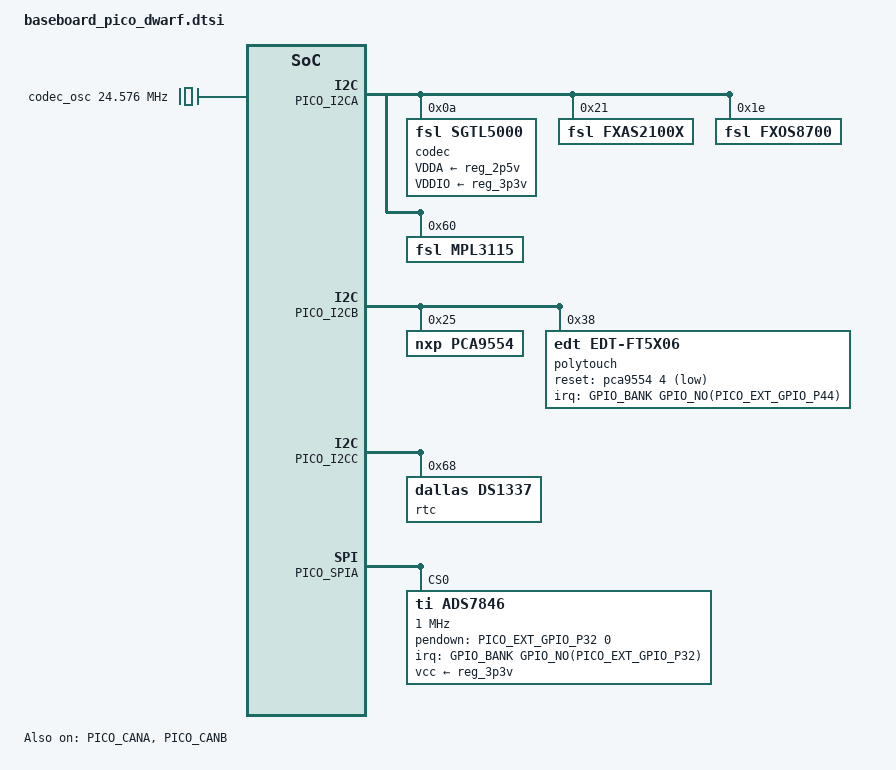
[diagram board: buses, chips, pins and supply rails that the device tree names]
/*
 * Copyright 2018 Technexion Ltd.
 *
 * Author: Tapani Utriainen <tapani@technexion.com>
 *         Richard Hu <richard.hu@technexion.com>
 *
 * This program is free software; you can redistribute it and/or modify
 * it under the terms of the GNU General Public License version 2 as
 * published by the Free Software Foundation.
 *
 */

#include <tnmacro.h>

/ {
	gpio-edm {
		compatible = "gpio-edm";

		gpio_exp0 {
			label = "GPIO_EXP0";
			gpios = <&pca9554 0 GPIO_ACTIVE_HIGH>;
			dir   = "out";
		};
		gpio_exp1 {
			label = "GPIO_EXP1";
			gpios = <&pca9554 1 GPIO_ACTIVE_HIGH>;
			dir   = "out";
		};
		gpio_exp2 {
			label = "GPIO_EXP2";
			gpios = <&pca9554 2 GPIO_ACTIVE_HIGH>;
			dir   = "out";
		};
		gpio_exp3 {
			label = "GPIO_EXP3";
			gpios = <&pca9554 3 GPIO_ACTIVE_HIGH>;
			dir   = "out";
		};
		/* expander pin 4 is FT5x06 touch reset */
		gpio_exp5 {
			label = "GPIO_EXP5";
			gpios = <&pca9554 5 GPIO_ACTIVE_HIGH>;
			dir   = "out";
		};
		/* expander pin 6 is FT5x06 touch interrupt */
		/* expander pin 7 is ADS7846 touch interrupt */
	};

	sound {
		compatible = "fsl,imx-sgtl5000",
			     "fsl,imx-audio-sgtl5000";
		model = "audio-sgtl5000";
		ssi-controller = <&PICO_AUDA_I2S_CHANNEL>;
		audio-codec = <&codec>;
		audio-routing =
			"MIC_IN", "Mic Jack",
			"Mic Jack", "Mic Bias",
			"Headphone Jack", "HP_OUT";
#if defined(PICO_AUDA_MUX_INT) && defined(PICO_AUDA_MUX_EXT)
		mux-int-port = <PICO_AUDA_MUX_INT>;
		mux-ext-port = <PICO_AUDA_MUX_EXT>;
#else
		fsl,no-audmux = "true";
#endif
	};

	clocks {
		codec_osc: aud_mclk {
			compatible = "fixed-clock";
			#clock-cells = <0>;
			clock-frequency = <24576000>;
		};
	};
};

&PICO_I2CA {
	status = "okay";

	codec: sgtl5000@0a {
		compatible = "fsl,sgtl5000";
		reg = <0x0a>;
		clocks = <&codec_osc>;
		VDDA-supply = <&reg_2p5v>;
		VDDIO-supply = <&reg_3p3v>;
	};

	fxas2100x@21 {
		compatible = "fsl,fxas2100x";
		reg = <0x21>;
	};

	fxos8700@1e {
		compatible = "fsl,fxos8700";
		reg = <0x1e>;
	};

	mpl3115@60 {
		compatible = "fsl,mpl3115";
		reg = <0x60>;
	};
};

&PICO_I2CB {
	status = "okay";

	pca9554: pca9554@25 {
		compatible = "nxp,pca9554";
		gpio-controller;
		#gpio-cells = <2>;
		#interrupt-cells = <2>;
		reg = <0x25>;
	};

	polytouch: edt-ft5x06@38 {
		compatible = "edt,edt-ft5x06";
		reg = <0x38>;
		interrupt-parent = <&GPIO_BANK(PICO_EXT_GPIO_P44)>; /* PICO_P44(EXP_IO6) */
		interrupts = <GPIO_NO(PICO_EXT_GPIO_P44) 0>;
		reset-gpios = <&pca9554 4 GPIO_ACTIVE_LOW>; /* EXP_IO4 */
		touchscreen-size-x = <800>;
		touchscreen-size-y = <480>;
	};
};

&PICO_I2CC {
	status = "okay";

	rtc: ds1337 {
		compatible = "dallas,ds1337";
		reg = <0x68>;
	};
};

&PICO_CANA {
	status = "okay";
};

&PICO_CANB {
	status = "okay";
};

&PICO_SPIA {
	status = "okay";

	ads7846@0 {
		reg = <0>;  /* CS0 */
		compatible = "ti,ads7846";
		interrupt-parent = <&GPIO_BANK(PICO_EXT_GPIO_P32)>; /* PICO_P32(EXP_IO7) */
		interrupts = <GPIO_NO(PICO_EXT_GPIO_P32) 0>;
		spi-max-frequency = <1000000>;
		pendown-gpio = <&PICO_EXT_GPIO_P32 0>; /* PICO_P32(EXP_IO7) */
		vcc-supply = <&reg_3p3v>;

		ti,x-min = /bits/ 16 <0>;
		ti,x-max = /bits/ 16 <4095>;
		ti,y-min = /bits/ 16 <0>;
		ti,y-max = /bits/ 16 <4095>;
		ti,pressure-max = /bits/ 16 <1024>;
		ti,x-plate-ohms = /bits/ 16 <90>;
		ti,y-plate-ohms = /bits/ 16 <90>;
		ti,debounce-max = /bits/ 16 <70>;
		ti,debounce-tol = /bits/ 16 <3>;
		ti,debounce-rep = /bits/ 16 <2>;
		ti,settle-delay-usec = /bits/ 16 <150>;

		linux,wakeup;
	};
};
